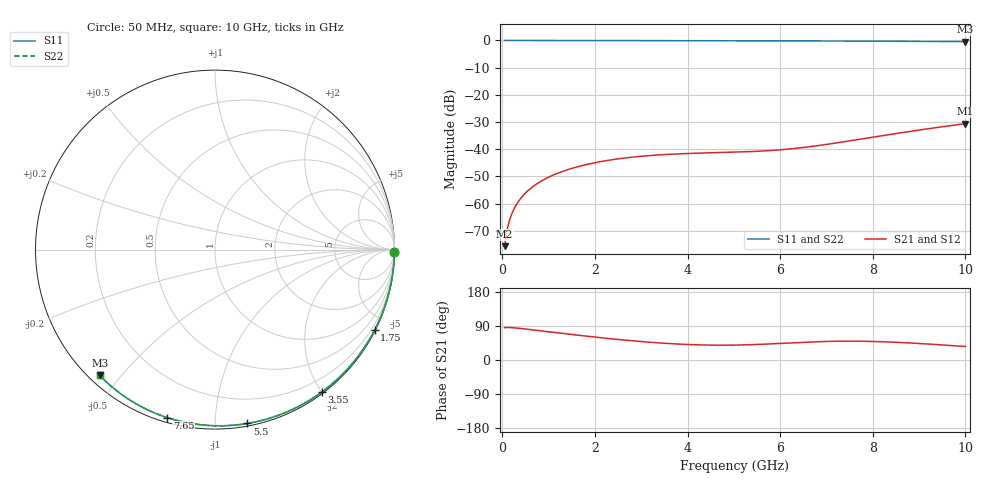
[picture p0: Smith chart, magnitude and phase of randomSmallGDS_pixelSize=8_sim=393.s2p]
! freq	dB(S11)	phase(S11)	dB(S12)	phase(S12)
!  dB(S21)	phase(S21)	dB(S22)	phase(S22)
!S-par simulation data
#  GHz  S  DB  R 50
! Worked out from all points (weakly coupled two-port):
!   200 points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, 50 MHz to 10 GHz, reference 50 ohm
!   highest |S21| = -30.59 dB at 10 GHz (marker M1); lowest = -75.6 dB at 50 MHz (marker M2)
!   lowest |S11| = -0.4 dB at 10 GHz (marker M3), VSWR 39.55, Z = 1.51 - j22 ohm
!   |S11| at or under -10 dB: nowhere
!   |S22| runs from -0.4 to 0.0 dB; largest |S21 - S12| = 0
!   S11 on the Smith chart (normalised r, x): 50 MHz: open; 1.75 GHz: 0.04, -4.19; 3.55 GHz: 0.02, -2.00; 5.5 GHz: 0.02, -1.20; 7.65 GHz: 0.02, -0.76; 10 GHz: 0.03, -0.44
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0.05  -0.00 -0.8  -75.64 85.2  -75.64 85.2  -0.00 -0.8
0.1  -0.00 -1.6  -69.90 85.8  -69.90 85.8  -0.00 -1.6
0.15  -0.00 -2.3  -66.46 85.8  -66.46 85.8  -0.00 -2.3
0.2  -0.00 -3.1  -63.99 85.5  -63.99 85.5  -0.00 -3.1
0.25  -0.00 -3.9  -62.07 85.0  -62.07 85.0  -0.00 -3.9
0.35  -0.00 -5.5  -59.17 83.8  -59.17 83.8  -0.00 -5.5
0.5  -0.01 -7.8  -56.11 81.7  -56.11 81.7  -0.01 -7.8
0.7  -0.01 -10.9  -53.25 78.9  -53.25 78.9  -0.01 -10.9
1  -0.02 -15.5  -50.27 74.5  -50.27 74.5  -0.02 -15.5
1.35  -0.03 -20.8  -47.86 69.4  -47.86 69.4  -0.03 -20.8
1.75  -0.03 -26.8  -45.90 63.8  -45.90 63.8  -0.03 -26.9
2.5  -0.05 -38.0  -43.54 54.2  -43.54 54.2  -0.05 -38.0
3.4  -0.07 -51.0  -42.06 45.0  -42.06 45.0  -0.07 -51.0
3.55  -0.07 -53.1  -41.91 43.8  -41.91 43.8  -0.07 -53.1
4.3  -0.09 -63.5  -41.41 39.7  -41.41 39.7  -0.09 -63.6
5.05  -0.11 -73.6  -41.07 39.4  -41.07 39.4  -0.11 -73.6
5.5  -0.13 -79.4  -40.77 41.0  -40.77 41.0  -0.13 -79.5
6.15  -0.15 -87.7  -39.99 44.7  -39.99 44.7  -0.15 -87.7
6.7  -0.18 -94.5  -38.93 47.8  -38.93 47.8  -0.18 -94.5
7.65  -0.24 -105.9  -36.52 49.7  -36.52 49.7  -0.24 -105.9
8.35  -0.29 -114.0  -34.62 47.5  -34.62 47.5  -0.29 -114.0
10  -0.44 -132.5  -30.59 35.5  -30.59 35.5  -0.44 -132.6
